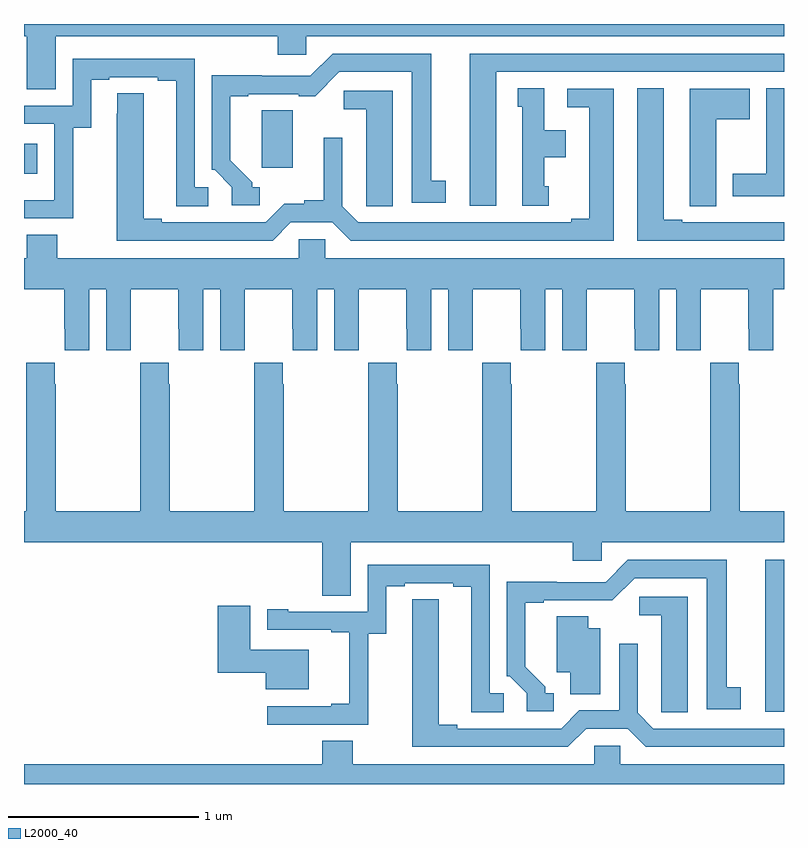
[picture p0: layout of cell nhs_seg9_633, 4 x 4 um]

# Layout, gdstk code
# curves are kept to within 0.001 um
import gdstk
lib = gdstk.Library(unit=1e-6, precision=1e-09)
def R(c, l, rs):  # rectangles x0, y0, x1, y1
    for r in rs: c.add(gdstk.rectangle(r[:2], r[2:], *l))
def P(c, l, *ps):  # polygons
    for p in ps: c.add(gdstk.Polygon(p, *l))
L2000_40 = (2000, 40)

nhs_seg9_633 = lib.new_cell('nhs_seg9_633')
R(nhs_seg9_633, L2000_40, [(146.9,1176.879,147,1177.68), (143,1179.713,143.071,1179.871)])
P(nhs_seg9_633, L2000_40, [(143.167,1180.436),(144.335,1180.436),(144.335,1180.338),(144.486,1180.338),(144.486,1180.436),(147,1180.436),(147,1180.5),(143,1180.5),(143,1180.436),(143.015,1180.436),(143.015,1180.156),(143.167,1180.156)],
  [(145.486,1180.248),(147,1180.248),(147,1180.344),(145.346,1180.344),(145.346,1179.543),(145.486,1179.543)],
  [(144.241,1179.642),(144.202,1179.642),(144.202,1179.666),(144.085,1179.782),(144.085,1180.119),(144.181,1180.119),(144.181,1180.131),(144.446,1180.131),(144.446,1180.12),(144.532,1180.12),(144.66,1180.248),(145.04,1180.248),(145.04,1179.558),(145.219,1179.558),(145.219,1179.674),(145.144,1179.674),(145.144,1180.344),(144.624,1180.344),(144.507,1180.227),(144.251,1180.227),(144.251,1180.229),(143.988,1180.229),(143.988,1179.732),(144.003,1179.732),(144.093,1179.642),(144.093,1179.546),(144.241,1179.546)],
  [(143.259,1179.955),(143.353,1179.955),(143.353,1180.206),(143.449,1180.206),(143.449,1180.221),(143.705,1180.221),(143.705,1180.201),(143.801,1180.201),(143.801,1179.541),(143.971,1179.541),(143.971,1179.642),(143.898,1179.642),(143.898,1180.317),(143.256,1180.317),(143.256,1180.071),(143,1180.071),(143,1179.975),(143.16,1179.975),(143.16,1179.574),(143.159,1179.574),(143.159,1179.573),(143,1179.573),(143,1179.477),(143.259,1179.477)],
  [(147,1180.163),(146.906,1180.163),(146.906,1179.711),(146.729,1179.711),(146.729,1179.594),(147,1179.594)],
  [(147,1179.456),(146.906,1179.456),(146.906,1179.457),(146.74,1179.457),(146.74,1179.456),(146.464,1179.456),(146.464,1179.471),(146.368,1179.471),(146.368,1180.163),(146.228,1180.163),(146.228,1179.36),(147,1179.36)],
  [(145.762,1179.645),(145.738,1179.645),(145.738,1179.8),(145.852,1179.8),(145.852,1179.94),(145.738,1179.94),(145.738,1180.163),(145.598,1180.163),(145.598,1180.065),(145.622,1180.065),(145.622,1179.543),(145.762,1179.543)],
  [(146.644,1180),(146.821,1180),(146.821,1180.159),(146.504,1180.159),(146.504,1179.649),(146.505,1179.649),(146.505,1179.541),(146.644,1179.541)],
  [(144.405,1179.456),(144.623,1179.456),(144.719,1179.36),(146.104,1179.36),(146.104,1180.158),(145.86,1180.158),(145.86,1180.062),(145.976,1180.062),(145.976,1179.476),(145.88,1179.476),(145.88,1179.456),(144.759,1179.456),(144.675,1179.54),(144.675,1179.901),(144.578,1179.901),(144.578,1179.572),(144.474,1179.572),(144.474,1179.554),(144.371,1179.554),(144.273,1179.456),(143.725,1179.456),(143.725,1179.476),(143.629,1179.476),(143.629,1180.136),(143.49,1180.136),(143.489,1179.36),(144.309,1179.36)],
  [(144.94,1180.149),(144.684,1180.149),(144.684,1180.052),(144.8,1180.052),(144.8,1179.649),(144.801,1179.649),(144.801,1179.541),(144.94,1179.541)],
  [(144.415,1179.888),(144.414,1179.888),(144.414,1180.046),(144.251,1180.046),(144.251,1179.744),(144.415,1179.744)],
  [(144.585,1179.366),(144.447,1179.366),(144.447,1179.268),(143.175,1179.268),(143.175,1179.392),(143.015,1179.392),(143.015,1179.268),(143,1179.268),(143,1179.104),(143.213,1179.104),(143.213,1178.896),(143.214,1178.896),(143.214,1178.784),(143.344,1178.784),(143.344,1179.104),(143.432,1179.104),(143.432,1178.784),(143.562,1178.784),(143.562,1178.896),(143.563,1178.896),(143.563,1179.104),(143.813,1179.104),(143.813,1178.896),(143.814,1178.896),(143.814,1178.784),(143.944,1178.784),(143.944,1179.104),(144.032,1179.104),(144.032,1178.784),(144.162,1178.784),(144.162,1178.896),(144.163,1178.896),(144.163,1179.104),(144.413,1179.104),(144.413,1178.896),(144.414,1178.896),(144.414,1178.784),(144.544,1178.784),(144.544,1179.104),(144.632,1179.104),(144.632,1178.784),(144.762,1178.784),(144.762,1178.896),(144.763,1178.896),(144.763,1179.104),(145.013,1179.104),(145.013,1178.896),(145.014,1178.896),(145.014,1178.784),(145.144,1178.784),(145.144,1179.104),(145.232,1179.104),(145.232,1178.784),(145.362,1178.784),(145.362,1178.896),(145.363,1178.896),(145.363,1179.104),(145.613,1179.104),(145.613,1178.896),(145.614,1178.896),(145.614,1178.784),(145.744,1178.784),(145.744,1179.104),(145.832,1179.104),(145.832,1178.784),(145.962,1178.784),(145.962,1178.896),(145.963,1178.896),(145.963,1179.104),(146.213,1179.104),(146.213,1178.896),(146.214,1178.896),(146.214,1178.784),(146.344,1178.784),(146.344,1179.104),(146.432,1179.104),(146.432,1178.784),(146.562,1178.784),(146.562,1178.896),(146.563,1178.896),(146.563,1179.104),(146.813,1179.104),(146.813,1178.896),(146.814,1178.896),(146.814,1178.784),(146.944,1178.784),(146.944,1179.104),(147,1179.104),(147,1179.268),(144.585,1179.268)],
  [(144.569,1177.492),(144.721,1177.492),(144.721,1177.772),(145.889,1177.772),(145.889,1177.674),(146.04,1177.674),(146.04,1177.772),(147,1177.772),(147,1177.936),(146.766,1177.936),(146.766,1178.603),(146.763,1178.603),(146.763,1178.716),(146.613,1178.716),(146.613,1178.603),(146.611,1178.603),(146.611,1177.936),(146.166,1177.936),(146.166,1178.603),(146.163,1178.603),(146.163,1178.716),(146.013,1178.716),(146.013,1178.603),(146.011,1178.603),(146.011,1177.936),(145.566,1177.936),(145.566,1178.603),(145.563,1178.603),(145.563,1178.716),(145.413,1178.716),(145.413,1178.603),(145.411,1178.603),(145.411,1177.936),(144.966,1177.936),(144.966,1178.603),(144.963,1178.603),(144.963,1178.716),(144.813,1178.716),(144.813,1178.603),(144.811,1178.603),(144.811,1177.936),(144.366,1177.936),(144.366,1178.603),(144.363,1178.603),(144.363,1178.716),(144.213,1178.716),(144.213,1178.603),(144.211,1178.603),(144.211,1177.936),(143.766,1177.936),(143.766,1178.603),(143.763,1178.603),(143.763,1178.716),(143.613,1178.716),(143.613,1178.603),(143.611,1178.603),(143.611,1177.936),(143.166,1177.936),(143.166,1178.603),(143.163,1178.603),(143.163,1178.716),(143.013,1178.716),(143.013,1178.603),(143.011,1178.603),(143.011,1177.936),(143,1177.936),(143,1177.772),(144.569,1177.772)],
  [(145.789,1176.978),(145.744,1176.978),(145.744,1177.013),(145.639,1177.118),(145.639,1177.455),(145.735,1177.455),(145.735,1177.467),(146.096,1177.466),(146.214,1177.584),(146.594,1177.584),(146.594,1176.894),(146.773,1176.894),(146.773,1177.01),(146.698,1177.01),(146.698,1177.68),(146.178,1177.68),(146.061,1177.563),(145.805,1177.563),(145.805,1177.565),(145.542,1177.565),(145.542,1177.068),(145.557,1177.068),(145.647,1176.978),(145.647,1176.882),(145.789,1176.882)],
  [(144.813,1177.291),(144.907,1177.291),(144.907,1177.542),(145.003,1177.542),(145.003,1177.557),(145.259,1177.557),(145.259,1177.537),(145.355,1177.537),(145.355,1176.877),(145.525,1176.877),(145.525,1176.978),(145.452,1176.978),(145.452,1177.653),(144.81,1177.653),(144.81,1177.407),(144.391,1177.407),(144.391,1177.42),(144.279,1177.42),(144.279,1177.311),(144.617,1177.311),(144.617,1177.299),(144.713,1177.299),(144.713,1176.922),(144.617,1176.922),(144.617,1176.909),(144.279,1176.909),(144.279,1176.813),(144.813,1176.813)],
  [(146.494,1177.485),(146.238,1177.485),(146.238,1177.388),(146.354,1177.388),(146.354,1176.985),(146.355,1176.985),(146.355,1176.877),(146.494,1176.877)],
  [(145.959,1176.792),(146.177,1176.792),(146.273,1176.696),(147,1176.696),(147,1176.792),(146.313,1176.792),(146.229,1176.876),(146.229,1177.237),(146.133,1177.237),(146.133,1176.888),(145.923,1176.888),(145.827,1176.792),(145.279,1176.792),(145.279,1176.812),(145.183,1176.812),(145.183,1177.472),(145.044,1177.472),(145.043,1176.696),(145.863,1176.696)],
  [(144.499,1177.207),(144.19,1177.207),(144.19,1177.438),(144.02,1177.438),(144.02,1177.085),(144.272,1177.085),(144.272,1176.998),(144.499,1176.998)],
  [(146.032,1177.321),(145.969,1177.321),(145.969,1177.382),(145.805,1177.382),(145.805,1177.088),(145.874,1177.088),(145.874,1176.973),(146.032,1176.973)],
  [(147,1176.604),(146.139,1176.604),(146.139,1176.702),(146.001,1176.702),(146.001,1176.604),(144.729,1176.604),(144.729,1176.728),(144.569,1176.728),(144.569,1176.604),(143,1176.604),(143,1176.5),(147,1176.5)])

lib.write_gds('nhs_seg9_633.gds')
